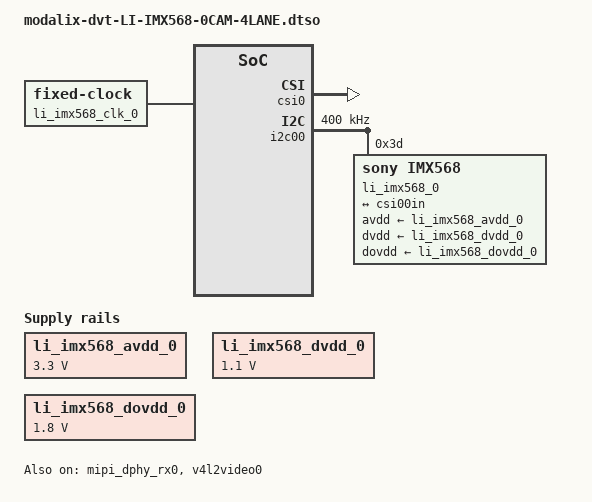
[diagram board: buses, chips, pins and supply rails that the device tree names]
// SPDX-License-Identifier: (GPL-2.0+ OR MIT)
/*
 * Copyright (c) 2026 SiMa ai
 *
 * li-imx568 (direct Sony imx568, sony,imx568) on modalix DVT csi0,
 * four-lane CSI-2 controller mode, i2c addr 0x3d, RAW12.
 */

/dts-v1/;
/plugin/;

&{/} {
	li_imx568_avdd_0: csi0-fixedregulator-0 {
		compatible = "regulator-fixed";
		regulator-name = "li_imx568_avdd_0";
		regulator-min-microvolt = <3300000>;
		regulator-max-microvolt = <3300000>;
		enable-active-high;
		startup-delay-us = <300000>;
		regulator-always-on;
	};
	li_imx568_dvdd_0: csi0-fixedregulator-1 {
		compatible = "regulator-fixed";
		regulator-name = "li_imx568_dvdd_0";
		regulator-min-microvolt = <1100000>;
		regulator-max-microvolt = <1100000>;
		regulator-always-on;
	};
	li_imx568_dovdd_0: csi0-fixedregulator-2 {
		compatible = "regulator-fixed";
		regulator-name = "li_imx568_dovdd_0";
		regulator-min-microvolt = <1800000>;
		regulator-max-microvolt = <1800000>;
		regulator-always-on;
	};
	li_imx568_clk_0: csi0-camera-clk {
		compatible = "fixed-clock";
		#clock-cells = <0>;
		clock-frequency = <37125000>;
	};
};

/* bt-* fallback for 1920x1080 RAW12 only; live timing comes from the sensor controls.
 * The sensor drives a continuous clock, so clock-noncontinuous is omitted. */
&csi0 {
	status = "okay";
	simaai,bt-pixelclock = /bits/ 64 <500000000>;
	simaai,bt-hsync = <2>;
	simaai,bt-hbackporch = <100>;
	simaai,bt-hfrontporch = <856>;
	simaai,bt-vsync = <1>;
	simaai,bt-vbackporch = <68>;
	simaai,bt-vfrontporch = <1>;
	simaai,ipi-controller-mode = <1>;
	simaai,ipi-controller-enable-delay-ms = <800>;
	simaai,ipi-emb-data-enable = <0>;
};

&axi_vdma0 {
	status = "okay";
};

&mipi_dphy_rx0 {
	status = "okay";
};

&v4l2video0 {
	status = "okay";
};

&v4l2vdma0 {
	status = "okay";
};

&csi00in {
	clock-lanes = <0>;
	data-lanes = <1 2 3 4>;
	link-frequencies = /bits/ 64 <594000000>;
	remote-endpoint = <&cam00out>;
};

&i2c00 {
	status = "okay";
	clock-frequency = <400000>;
	#address-cells = <1>;
	#size-cells = <0>;

	li_imx568_0: camera@3d {
		compatible = "sony,imx568";
		reg = <0x3d>;

		clocks = <&li_imx568_clk_0>;
		clock-names = "inck";

		avdd-supply = <&li_imx568_avdd_0>;
		dvdd-supply = <&li_imx568_dvdd_0>;
		dovdd-supply = <&li_imx568_dovdd_0>;

		port {
			cam00out: endpoint {
				clock-lanes = <0>;
				data-lanes = <1 2 3 4>;
				link-frequencies = /bits/ 64 <594000000>;
				remote-endpoint = <&csi00in>;
			};
		};
	};
};
